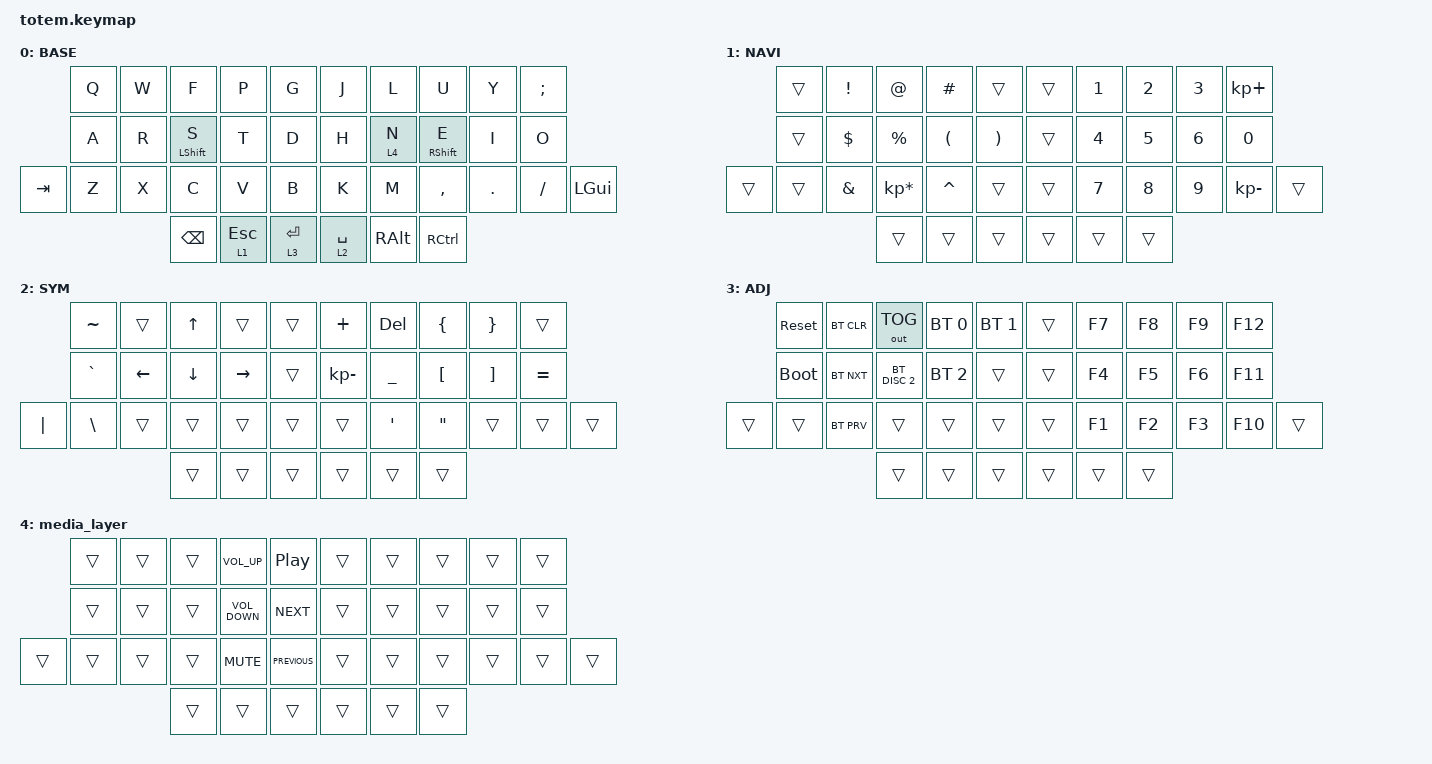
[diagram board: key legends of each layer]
//
//                                                        ▀▀▀▀▀     ▀▀▀▀▀          ▀▀█▀▀
//                                                        ▄▀▀▀▄  ▄  ▄▀▀▀▄  ▄  ▄▀▀▀▄  █  ▄▀▀▀▄
//                                                        █   █  █  █   █  █  █   █  █  █   █
//                                                         ▀▀▀   █   ▀▀▀   █   ▀▀▀   ▀   ▀▀▀
//                                                               █      ▄▄▄█▄▄▄    █   █  
//                                                               ▀      █  █  █     █▄█
//                                                             ▀▀▀▀▀    █  █  █      ▀
//                                                                      ▀  ▀  ▀
//
// ▄▄▄▄▄▄▄▄▄▄▄▄▄▄▄▄▄▄▄▄▄▄▄▄▄▄▄▄▄▄▄▄▄▄▄▄▄▄▄▄▄▄▄▄▄▄▄▄▄▄▄▄▄▄▄▄▄▄▄▄▄▄▄▄▄▄▄▄▄▄▄▄▄▄▄▄▄▄▄▄▄▄▄▄▄▄▄▄▄▄▄▄▄▄▄▄▄▄▄▄▄▄▄▄▄▄▄▄▄▄▄▄▄▄▄▄▄▄▄▄▄▄▄▄▄▄▄▄▄▄▄▄▄▄▄▄▄▄▄▄▄▄▄▄▄▄▄▄▄

#include <behaviors.dtsi>
#include <dt-bindings/zmk/bt.h>
#include <dt-bindings/zmk/keys.h>
#include <dt-bindings/zmk/outputs.h>

#define BASE 0
#define NAV  1
#define SYM  2
#define ADJ  3
#define TVP1 4
#define TVP2 5

&mt {
    quick-tap-ms = <100>;
    global-quick-tap;
    flavor = "tap-preferred";
    tapping-term-ms = <200>;
    retro-tap;
};

/ {
    combos {
        compatible = "zmk,combos";

        combo_esc {
            timeout-ms = <50>;
            key-positions = <0 1>;
            bindings = <&kp ESC>;
        };

        combo_tvp {
            timeout-ms = <100>;
            key-positions = <11 12 13>;
            bindings = <&tog 0>;
        };
    };

    macros {
        gif: gif {
            label = "giphy";
            compatible = "zmk,behavior-macro";
            #binding-cells = <0>;
            bindings =
                <&macro_press>,
                <&kp LSHFT>,
                <&macro_tap>,
                <&kp N2>,
                <&macro_release>,
                <&kp LSHFT>,
                <&macro_tap>,
                <&kp G &kp I &kp F>;
        };
    };

    behaviors {
        fast_lt: fast_lt {
            compatible = "zmk,behavior-hold-tap";
            label = "FAST_LT";
            bindings = <&mo>, <&kp>;

            #binding-cells = <2>;
            tapping-term-ms = <100>;
            quick-tap-ms = <0>;
        };

        hr_mt: hr_mt {
            compatible = "zmk,behavior-hold-tap";
            label = "HR_MT";
            bindings = <&kp>, <&kp>;

            #binding-cells = <2>;
            tapping-term-ms = <200>;
            quick-tap-ms = <150>;
            require-prior-idle-ms = <100>;
            flavor = "balanced";
        };
    };

    keymap {
        compatible = "zmk,keymap";

        // ▄▄▄▄▄▄▄▄▄▄▄▄▄▄▄▄▄▄▄▄▄▄▄▄▄▄▄▄▄▄▄▄▄▄▄▄▄▄▄▄▄▄▄▄▄▄▄▄▄▄▄▄▄▄▄▄▄▄▄▄▄▄▄▄▄▄▄▄▄▄▄▄▄▄▄▄▄▄▄▄▄▄▄▄▄▄▄▄▄▄▄▄▄▄▄▄▄▄▄▄▄▄▄▄▄▄▄▄▄▄▄▄▄▄▄▄▄▄▄▄▄▄▄▄▄▄▄▄▄▄▄▄▄▄▄▄▄▄▄▄▄▄▄▄▄▄▄▄▄

        base_layer {
            // ┏━━━━━━━━━━━━━━━━━━━━━━━━━━━━━━━━━━━━━━━┓

            label = "BASE";

            // ┗━━━━━━━━━━━━━━━━━━━━━━━━━━━━━━━━━━━━━━━┛
            //             ┏━━━━━━━━━━━┳━━━━━━━━━━━┳━━━━━━━━━━━┳━━━━━━━━━━━┳━━━━━━━━━━━┓   ┏━━━━━━━━━━━┳━━━━━━━━━━━┳━━━━━━━━━━━┳━━━━━━━━━━━┳━━━━━━━━━━━┓
            //             ┃     Q     ┃     W     ┃     F     ┃     P     ┃     G     ┃   ┃     J     ┃     L     ┃     U     ┃     Y     ┃     ;     ┃
            //             ┣━━━━━━━━━━━╋━━━━━━━━━━━╋━━━━━━━━━━━╋━━━━━━━━━━━╋━━━━━━━━━━━┫   ┣━━━━━━━━━━━╋━━━━━━━━━━━╋━━━━━━━━━━━╋━━━━━━━━━━━╋━━━━━━━━━━━┫
            //             ┃     A     ┃     R     ┃     S     ┃     T     ┃     D     ┃   ┃     H     ┃     N     ┃     E     ┃     I     ┃     O     ┃
            // ┏━━━━━━━━━━━╋━━━━━━━━━━━╋━━━━━━━━━━━╋━━━━━━━━━━━╋━━━━━━━━━━━╋━━━━━━━━━━━┫   ┣━━━━━━━━━━━╋━━━━━━━━━━━╋━━━━━━━━━━━╋━━━━━━━━━━━╋━━━━━━━━━━━╋━━━━━━━━━━━┓
            // ┃     Q     ┃     Z     ┃     X     ┃     C     ┃     V     ┃     B     ┃   ┃     K     ┃     M     ┃     ,     ┃     .     ┃     /     ┃     \     ┃
            // ┗━━━━━━━━━━━┻━━━━━━━━━━━┻━━━━━━━━━━━╋━━━━━━━━━━━╋━━━━━━━━━━━╋━━━━━━━━━━━┫   ┣━━━━━━━━━━━╋━━━━━━━━━━━╋━━━━━━━━━━━╋━━━━━━━━━━━┻━━━━━━━━━━━┻━━━━━━━━━━━┛
            //                                     ┃    DEL    ┃    TAB    ┃    SPC    ┃   ┃   ENTER   ┃           ┃   BSPC    ┃
            //                                     ┗━━━━━━━━━━━┻━━━━━━━━━━━┻━━━━━━━━━━━┛   ┗━━━━━━━━━━━┻━━━━━━━━━━━┻━━━━━━━━━━━┛

            bindings = <
         &kp Q  &kp W  &kp F                &kp P              &kp G               &kp J             &kp L          &kp U                 &kp Y    &kp SEMI
         &kp A  &kp R  &hr_mt LEFT_SHIFT S  &kp T              &kp D               &kp H             &lt 4 N        &hr_mt RIGHT_SHIFT E  &kp I    &kp O
&kp TAB  &kp Z  &kp X  &kp C                &kp V              &kp B               &kp K             &kp M          &kp COMMA             &kp DOT  &kp FSLH  &kp LEFT_GUI
                       &kp BACKSPACE        &fast_lt 1 ESCAPE  &fast_lt 3 ENTER    &fast_lt 2 SPACE  &kp RIGHT_ALT  &kp RIGHT_CONTROL
            >;
        };

        // ▄▄▄▄▄▄▄▄▄▄▄▄▄▄▄▄▄▄▄▄▄▄▄▄▄▄▄▄▄▄▄▄▄▄▄▄▄▄▄▄▄▄▄▄▄▄▄▄▄▄▄▄▄▄▄▄▄▄▄▄▄▄▄▄▄▄▄▄▄▄▄▄▄▄▄▄▄▄▄▄▄▄▄▄▄▄▄▄▄▄▄▄▄▄▄▄▄▄▄▄▄▄▄▄▄▄▄▄▄▄▄▄▄▄▄▄▄▄▄▄▄▄▄▄▄▄▄▄▄▄▄▄▄▄▄▄▄▄▄▄▄▄▄▄▄▄▄▄▄

        number_layer {
            // ┏━━━━━━━━━━━━━━━━━━━━━━━━━━━━━━━━━━━━━━━┓

            label = "NAVI";

            // ┗━━━━━━━━━━━━━━━━━━━━━━━━━━━━━━━━━━━━━━━┛
            //             ┏━━━━━━━━━━━┳━━━━━━━━━━━┳━━━━━━━━━━━┳━━━━━━━━━━━┳━━━━━━━━━━━┓   ┏━━━━━━━━━━━┳━━━━━━━━━━━┳━━━━━━━━━━━┳━━━━━━━━━━━┳━━━━━━━━━━━┓
            //             ┃           ┃           ┃     UP    ┃           ┃     {     ┃   ┃     }     ┃     7     ┃     8     ┃     9     ┃     +     ┃
            //             ┣━━━━━━━━━━━╋━━━━━━━━━━━╋━━━━━━━━━━━╋━━━━━━━━━━━╋━━━━━━━━━━━┫   ┣━━━━━━━━━━━╋━━━━━━━━━━━╋━━━━━━━━━━━╋━━━━━━━━━━━╋━━━━━━━━━━━┫
            //             ┃   SHIFT   ┃   LEFT    ┃    DOWN   ┃   RIGHT   ┃     [     ┃   ┃     ]     ┃     4     ┃     5     ┃     6     ┃     -     ┃
            // ┏━━━━━━━━━━━╋━━━━━━━━━━━╋━━━━━━━━━━━╋━━━━━━━━━━━╋━━━━━━━━━━━╋━━━━━━━━━━━┫   ┣━━━━━━━━━━━╋━━━━━━━━━━━╋━━━━━━━━━━━╋━━━━━━━━━━━╋━━━━━━━━━━━╋━━━━━━━━━━━┓
            // ┃           ┃           ┃   P UP    ┃  C LOCK   ┃  P DOWN   ┃     (     ┃   ┃     )     ┃     1     ┃     2     ┃     3     ┃     *     ┃           ┃
            // ┗━━━━━━━━━━━┻━━━━━━━━━━━┻━━━━━━━━━━━╋━━━━━━━━━━━╋━━━━━━━━━━━╋━━━━━━━━━━━┫   ┣━━━━━━━━━━━╋━━━━━━━━━━━╋━━━━━━━━━━━╋━━━━━━━━━━━┻━━━━━━━━━━━┻━━━━━━━━━━━┛
            //                                     ┃           ┃    TAB    ┃    SPC    ┃   ┃    DEL    ┃     0     ┃           ┃
            //                                     ┗━━━━━━━━━━━┻━━━━━━━━━━━┻━━━━━━━━━━━┛   ┗━━━━━━━━━━━┻━━━━━━━━━━━┻━━━━━━━━━━━┛

            bindings = <
        &trans  &kp EXCL       &kp AT           &kp HASH              &trans                   &trans  &kp N1        &kp NUMBER_2  &kp NUMBER_3  &kp KP_PLUS
        &trans  &kp DOLLAR     &kp PERCENT      &kp LEFT_PARENTHESIS  &kp RIGHT_PARENTHESIS    &trans  &kp NUMBER_4  &kp N5        &kp NUMBER_6  &kp N0
&trans  &trans  &kp AMPERSAND  &kp KP_ASTERISK  &kp CARET             &trans                   &trans  &kp N7        &kp N8        &kp N9        &kp KP_MINUS  &trans
                               &trans           &trans                &trans                   &trans  &trans        &trans
            >;
        };

        // ▄▄▄▄▄▄▄▄▄▄▄▄▄▄▄▄▄▄▄▄▄▄▄▄▄▄▄▄▄▄▄▄▄▄▄▄▄▄▄▄▄▄▄▄▄▄▄▄▄▄▄▄▄▄▄▄▄▄▄▄▄▄▄▄▄▄▄▄▄▄▄▄▄▄▄▄▄▄▄▄▄▄▄▄▄▄▄▄▄▄▄▄▄▄▄▄▄▄▄▄▄▄▄▄▄▄▄▄▄▄▄▄▄▄▄▄▄▄▄▄▄▄▄▄▄▄▄▄▄▄▄▄▄▄▄▄▄▄▄▄▄▄▄▄▄▄▄▄▄

        sim_layer {
            // ┏━━━━━━━━━━━━━━━━━━━━━━━━━━━━━━━━━━━━━━━┓

            label = "SYM";

            // ┗━━━━━━━━━━━━━━━━━━━━━━━━━━━━━━━━━━━━━━━┛
            //             ┏━━━━━━━━━━━┳━━━━━━━━━━━┳━━━━━━━━━━━┳━━━━━━━━━━━┳━━━━━━━━━━━┓   ┏━━━━━━━━━━━┳━━━━━━━━━━━┳━━━━━━━━━━━┳━━━━━━━━━━━┳━━━━━━━━━━━┓
            //             ┃     !     ┃     @     ┃     #     ┃     $     ┃     %     ┃   ┃     ˆ     ┃     &     ┃     Ü     ┃     '     ┃     "     ┃
            //             ┣━━━━━━━━━━━╋━━━━━━━━━━━╋━━━━━━━━━━━╋━━━━━━━━━━━╋━━━━━━━━━━━┫   ┣━━━━━━━━━━━╋━━━━━━━━━━━╋━━━━━━━━━━━╋━━━━━━━━━━━╋━━━━━━━━━━━┫
            //             ┃     Ä     ┃           ┃    SZ     ┃           ┃           ┃   ┃   MUTE    ┃   YEN     ┃   EURO    ┃  POUND    ┃     Ö     ┃
            // ┏━━━━━━━━━━━╋━━━━━━━━━━━╋━━━━━━━━━━━╋━━━━━━━━━━━╋━━━━━━━━━━━╋━━━━━━━━━━━┫   ┣━━━━━━━━━━━╋━━━━━━━━━━━╋━━━━━━━━━━━╋━━━━━━━━━━━╋━━━━━━━━━━━╋━━━━━━━━━━━┓
            // ┃           ┃  EMAIL1   ┃  EMAIL2   ┃           ┃           ┃           ┃   ┃   VOL-    ┃   VOL+    ┃   LAST    ┃   NEXT    ┃     \     ┃           ┃
            // ┗━━━━━━━━━━━┻━━━━━━━━━━━┻━━━━━━━━━━━╋━━━━━━━━━━━╋━━━━━━━━━━━╋━━━━━━━━━━━┫   ┣━━━━━━━━━━━╋━━━━━━━━━━━╋━━━━━━━━━━━╋━━━━━━━━━━━┻━━━━━━━━━━━┻━━━━━━━━━━━┛
            //                                     ┃           ┃    GIF    ┃    ADJ    ┃   ┃           ┃           ┃           ┃
            //                                     ┗━━━━━━━━━━━┻━━━━━━━━━━━┻━━━━━━━━━━━┛   ┗━━━━━━━━━━━┻━━━━━━━━━━━┻━━━━━━━━━━━┛

            bindings = <
          &kp TILDE      &trans          &kp UP_ARROW    &trans     &trans    &kp PLUS         &kp DEL           &kp LEFT_BRACE     &kp RIGHT_BRACE    &trans
          &kp GRAVE      &kp LEFT_ARROW  &kp DOWN_ARROW  &kp RIGHT  &trans    &kp KP_SUBTRACT  &kp UNDER         &kp LEFT_BRACKET   &kp RIGHT_BRACKET  &kp EQUAL
&kp PIPE  &kp BACKSLASH  &trans          &trans          &trans     &trans    &trans           &kp SINGLE_QUOTE  &kp DOUBLE_QUOTES  &trans             &trans     &trans
                                         &trans          &trans     &trans    &trans           &trans            &trans
            >;
        };

        // ▄▄▄▄▄▄▄▄▄▄▄▄▄▄▄▄▄▄▄▄▄▄▄▄▄▄▄▄▄▄▄▄▄▄▄▄▄▄▄▄▄▄▄▄▄▄▄▄▄▄▄▄▄▄▄▄▄▄▄▄▄▄▄▄▄▄▄▄▄▄▄▄▄▄▄▄▄▄▄▄▄▄▄▄▄▄▄▄▄▄▄▄▄▄▄▄▄▄▄▄▄▄▄▄▄▄▄▄▄▄▄▄▄▄▄▄▄▄▄▄▄▄▄▄▄▄▄▄▄▄▄▄▄▄▄▄▄▄▄▄▄▄▄▄▄▄▄▄▄

        adjust_layer {
            // ┏━━━━━━━━━━━━━━━━━━━━━━━━━━━━━━━━━━━━━━━┓

            label = "ADJ";

            // ┗━━━━━━━━━━━━━━━━━━━━━━━━━━━━━━━━━━━━━━━┛
            //             ┏━━━━━━━━━━━┳━━━━━━━━━━━┳━━━━━━━━━━━┳━━━━━━━━━━━┳━━━━━━━━━━━┓   ┏━━━━━━━━━━━┳━━━━━━━━━━━┳━━━━━━━━━━━┳━━━━━━━━━━━┳━━━━━━━━━━━┓
            //             ┃   RESET   ┃ BT CLEAR  ┃  OUT TOG  ┃           ┃           ┃   ┃           ┃    F7     ┃    F8     ┃    F9     ┃    F12    ┃
            //             ┣━━━━━━━━━━━╋━━━━━━━━━━━╋━━━━━━━━━━━╋━━━━━━━━━━━╋━━━━━━━━━━━┫   ┣━━━━━━━━━━━╋━━━━━━━━━━━╋━━━━━━━━━━━╋━━━━━━━━━━━╋━━━━━━━━━━━┫
            //             ┃ BOOTLOAD  ┃ BT NEXT   ┃           ┃           ┃           ┃   ┃           ┃    F4     ┃    F5     ┃    F6     ┃    F11    ┃
            // ┏━━━━━━━━━━━╋━━━━━━━━━━━╋━━━━━━━━━━━╋━━━━━━━━━━━╋━━━━━━━━━━━╋━━━━━━━━━━━┫   ┣━━━━━━━━━━━╋━━━━━━━━━━━╋━━━━━━━━━━━╋━━━━━━━━━━━╋━━━━━━━━━━━╋━━━━━━━━━━━┓
            // ┃           ┃           ┃ BT PREV   ┃           ┃           ┃           ┃   ┃           ┃    F1     ┃    F2     ┃    F3     ┃    F10    ┃           ┃
            // ┗━━━━━━━━━━━┻━━━━━━━━━━━┻━━━━━━━━━━━╋━━━━━━━━━━━╋━━━━━━━━━━━╋━━━━━━━━━━━┫   ┣━━━━━━━━━━━╋━━━━━━━━━━━╋━━━━━━━━━━━╋━━━━━━━━━━━┻━━━━━━━━━━━┻━━━━━━━━━━━┛
            //                                     ┃           ┃           ┃           ┃   ┃           ┃           ┃           ┃
            //                                     ┗━━━━━━━━━━━┻━━━━━━━━━━━┻━━━━━━━━━━━┛   ┗━━━━━━━━━━━┻━━━━━━━━━━━┻━━━━━━━━━━━┛

            bindings = <
        &sys_reset   &bt BT_CLR  &out OUT_TOG   &bt BT_SEL 0  &bt BT_SEL 1    &trans  &kp F7  &kp F8  &kp F9  &kp F12
        &bootloader  &bt BT_NXT  &bt BT_DISC 2  &bt BT_SEL 2  &trans          &trans  &kp F4  &kp F5  &kp F6  &kp F11
&trans  &trans       &bt BT_PRV  &trans         &trans        &trans          &trans  &kp F1  &kp F2  &kp F3  &kp F10  &trans
                                 &trans         &trans        &trans          &trans  &trans  &trans
            >;
        };

        media_layer {
            bindings = <
        &trans  &trans  &trans  &kp C_VOLUME_UP    &kp C_PLAY_PAUSE    &trans  &trans  &trans  &trans  &trans
        &trans  &trans  &trans  &kp C_VOLUME_DOWN  &kp C_NEXT          &trans  &trans  &trans  &trans  &trans
&trans  &trans  &trans  &trans  &kp K_MUTE         &kp C_PREVIOUS      &trans  &trans  &trans  &trans  &trans  &trans
                        &trans  &trans             &trans              &trans  &trans  &trans
            >;
        };

        // ▄▄▄▄▄▄▄▄▄▄▄▄▄▄▄▄▄▄▄▄▄▄▄▄▄▄▄▄▄▄▄▄▄▄▄▄▄▄▄▄▄▄▄▄▄▄▄▄▄▄▄▄▄▄▄▄▄▄▄▄▄▄▄▄▄▄▄▄▄▄▄▄▄▄▄▄▄▄▄▄▄▄▄▄▄▄▄▄▄▄▄▄▄▄▄▄▄▄▄▄▄▄▄▄▄▄▄▄▄▄▄▄▄▄▄▄▄▄▄▄▄▄▄▄▄▄▄▄▄▄▄▄▄▄▄▄▄▄▄▄▄▄▄▄▄▄▄▄▄
        // ▄▄▄▄▄▄▄▄▄▄▄▄▄▄▄▄▄▄▄▄▄▄▄▄▄▄▄▄▄▄▄▄▄▄▄▄▄▄▄▄▄▄▄▄▄▄▄▄▄▄▄▄▄▄▄▄▄▄▄▄▄▄▄▄▄▄▄▄▄▄▄▄▄▄▄▄▄▄▄▄▄▄▄▄▄▄▄▄▄▄▄▄▄▄▄▄▄▄▄▄▄▄▄▄▄▄▄▄▄▄▄▄▄▄▄▄▄▄▄▄▄▄▄▄▄▄▄▄▄▄▄▄▄▄▄▄▄▄▄▄▄▄▄▄▄▄▄▄▄
    };
};
